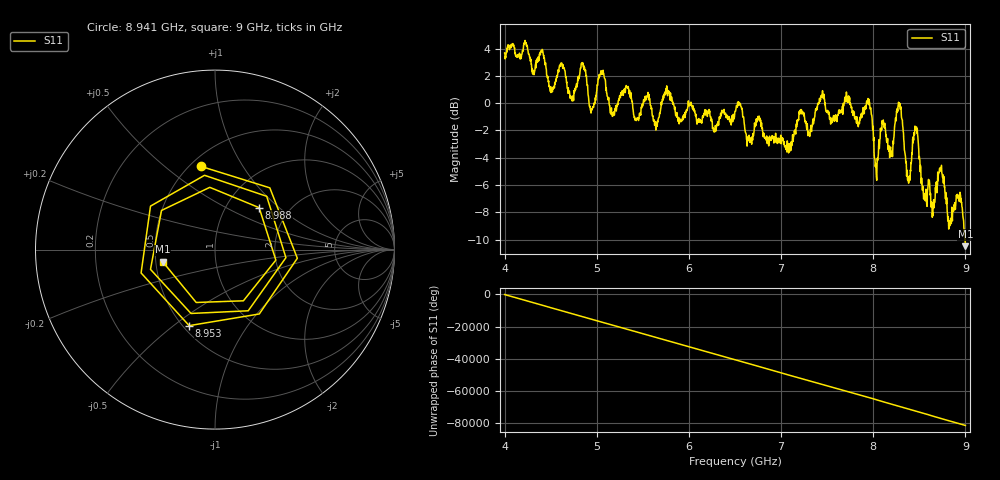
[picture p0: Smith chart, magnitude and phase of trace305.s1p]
! Created with skrf 1.8.0 (http://scikit-rf.org).
# Hz S RI R 50.0
!freq ReS11 ImS11
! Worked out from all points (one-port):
!   1601 points, 4 GHz to 9 GHz, reference 50 ohm
!   lowest |S11| = -10.5 dB at 9 GHz (marker M1), VSWR 1.85, Z = 27.2 - j4.04 ohm
!   |S11| at or under -10 dB: 8.996192 GHz to end of sweep
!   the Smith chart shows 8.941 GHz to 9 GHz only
!   S11 on the Smith chart (normalised r, x): 8.941 GHz: 0.56, +0.67; 8.953 GHz: 0.54, -0.57; 8.988 GHz: 1.42, +0.75; 9 GHz: 0.54, -0.08
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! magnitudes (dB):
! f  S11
! 4 GHz  3.7
! 4.403 GHz  3.7
! 4.512 GHz  0.9
! 4.625 GHz  2.7
! 4.731 GHz  0.3
! 4.856 GHz  2.6
! 4.941 GHz  -0.4
! 5.05 GHz  2.1
! 5.166 GHz  -0.9
! 5.25 GHz  0.5
! 5.875 GHz  -1.1
! 6.5 GHz  -0.6
! 7.125 GHz  -2.3
! 7.441 GHz  0.5
! 7.75 GHz  0.0
! 7.953 GHz  0.3
! 8.034 GHz  -5.4
! 8.2 GHz  -3.9
! 8.278 GHz  -0.2
! 8.375 GHz  -5.7
! 8.459 GHz  -1.8
! 8.559 GHz  -6.7
! 8.731 GHz  -4.9
! 8.825 GHz  -8.7
! 8.941 GHz  -6.5
! 8.953 GHz  -7.0
! 8.988 GHz  -9.4
! 9 GHz  -10.5
